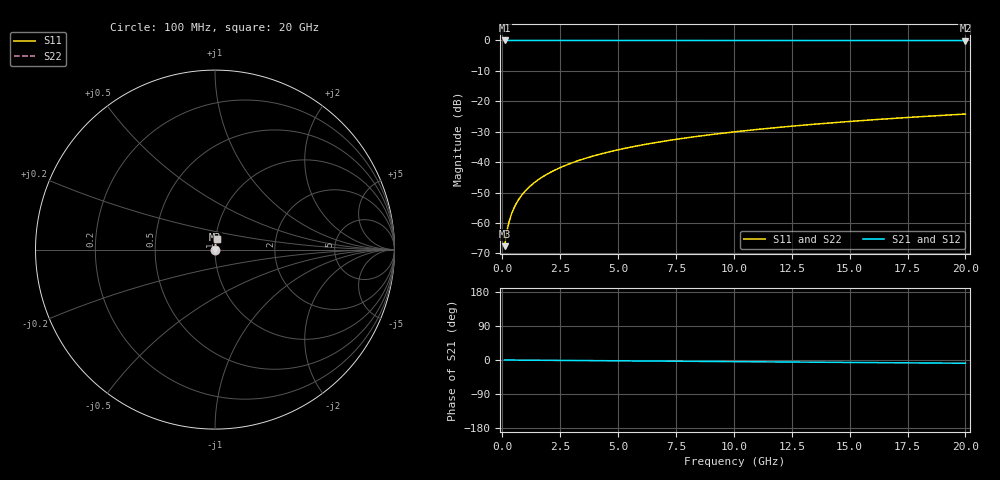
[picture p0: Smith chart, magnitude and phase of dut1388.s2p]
! Touchstone file exported from HFSS 2026.1.0
!  File:  C:/ffzhzh/LocalFiles/Ansys_Project_Files/temp_train_TSV_1388_1783196601_18472.aedt
!  Generated:  04:25:03 AM Jul  5, 2026
!  Design:  TSV
!  Project:  temp_train_TSV_1388_1783196601_18472
! Variables:
!  h_bsmrdl = 2um
!  h_ox = 20um
!  h_rdl = 5um
!  h_sub = 74.12um
!  h_tmrdl = 5um
!  h_tsv = 74.12um
!  h_via = 3um
!  l_bsmrdl = 300um
!  l_sub = 413.4um
!  l_tmrdl = 200um
!  m_sub = 200um
!  pitch = 49.24um
!  r_tsv = 6.7um
!  s_tmrdl = 10um
!  w_bsmrdl = 18um
!  w_sub = 500um
!  w_tmrdl = 12um
!  x_tsv_center1 = 206um
!  x_tsv_center2 = 524um
!  x_tsv_center3 = 736um
!  x_tsv_center4 = 1054um
!  x_tsv_center5 = 1266um
!  x_tsv_center6 = 1584um
# GHz S MA R 50.000000
! Terminal data exported
! Port[1] = TSV1_1_T1
! Port[2] = TSV1_1_T2
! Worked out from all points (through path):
!   200 points, 100 MHz to 20 GHz, reference 50 ohm
!   highest |S21| = 0.00 dB at 100 MHz (marker M1); lowest = 0.0 dB at 20 GHz (marker M2)
!   group delay of S21, straight-line fit = 1.19 ps
!   lowest |S11| = -67.6 dB at 100 MHz (marker M3), VSWR 1.00, Z = 50 + j0.035 ohm
!   |S11| at or under -10 dB: start of sweep to end of sweep
!   |S22| runs from -67.6 to -24.2 dB; largest |S21 - S12| = 2.3e-15
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0.1  0.0004153 57.5  0.9998 -0.0  0.9998 -0.0  0.0004153 57.5
! Gamma 0 0 0 0
! Port Impedance 50 0 50 0
0.2  0.0007363 71.5  0.9998 -0.1  0.9998 -0.1  0.0007363 71.5
0.3  0.001073 76.6  0.9998 -0.1  0.9998 -0.1  0.001073 76.6
0.4  0.00141 79.1  0.9997 -0.2  0.9997 -0.2  0.00141 79.1
0.5  0.001745 80.4  0.9997 -0.2  0.9997 -0.2  0.001745 80.4
0.6  0.002077 81.3  0.9997 -0.3  0.9997 -0.3  0.002077 81.3
0.7  0.002406 82.0  0.9997 -0.3  0.9997 -0.3  0.002406 82.0
0.8  0.002731 82.4  0.9997 -0.4  0.9997 -0.4  0.002731 82.4
1  0.003376 83.1  0.9996 -0.4  0.9996 -0.4  0.003376 83.1
1.4  0.00465 83.9  0.9995 -0.6  0.9995 -0.6  0.00465 83.9
1.7  0.0056 84.4  0.9995 -0.7  0.9995 -0.7  0.0056 84.4
2  0.006547 84.6  0.9995 -0.9  0.9995 -0.9  0.006547 84.6
2.7  0.008753 85.0  0.9994 -1.2  0.9994 -1.2  0.008753 85.0
3.5  0.01126 85.1  0.9993 -1.5  0.9993 -1.5  0.01126 85.1
4.2  0.01345 85.1  0.9992 -1.8  0.9992 -1.8  0.01345 85.1
5  0.01594 85.0  0.9991 -2.2  0.9991 -2.2  0.01594 85.0
6.8  0.02151 84.6  0.9988 -2.9  0.9988 -2.9  0.02151 84.6
8.3  0.02613 84.2  0.9986 -3.6  0.9986 -3.6  0.02613 84.2
10.1  0.03165 83.6  0.9984 -4.3  0.9984 -4.3  0.03165 83.6
13.4  0.04173 82.5  0.9978 -5.8  0.9978 -5.8  0.04173 82.5
16.7  0.05174 81.3  0.9972 -7.2  0.9972 -7.2  0.05174 81.3
20  0.06168 80.0  0.9965 -8.6  0.9965 -8.6  0.06168 80.0
